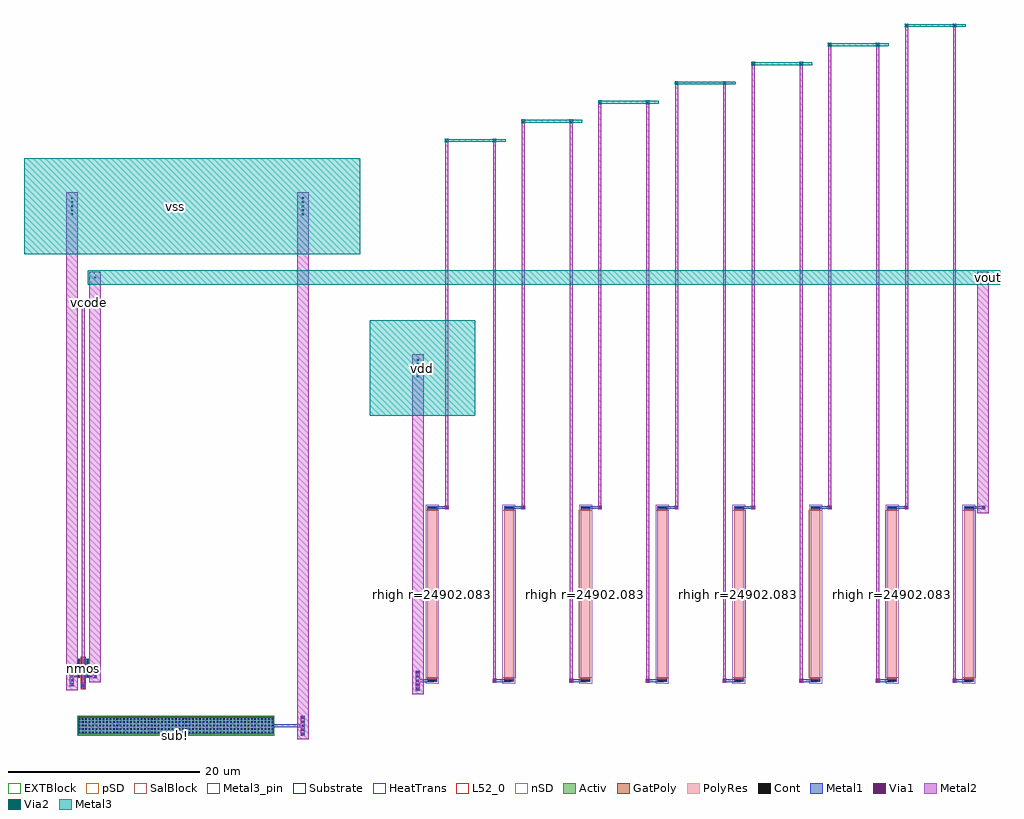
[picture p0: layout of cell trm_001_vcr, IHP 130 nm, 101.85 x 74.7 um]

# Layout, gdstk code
import gdstk
lib = gdstk.Library(unit=1e-6, precision=1e-09)
def R(c, l, rs):  # rectangles x0, y0, x1, y1
    for r in rs: c.add(gdstk.rectangle(r[:2], r[2:], *l))
def A(c, l, x, y, w, h, nx, ny, dx, dy):  # array of equal rectangles
    R(c, l, [(x+i*dx, y+j*dy, x+i*dx+w, y+j*dy+h) for i in range(nx) for j in range(ny)])
Activ = (1, 0)
GatPoly = (5, 0)
Cont = (6, 0)
nSD = (7, 0)
Metal1 = (8, 0)
Metal2 = (10, 0)
pSD = (14, 0)
Via1 = (19, 0)
SalBlock = (28, 0)
Via2 = (29, 0)
Metal3 = (30, 0)
Metal3_pin = (30, 2)
Substrate = (40, 0)
HeatTrans = (51, 0)
L52_0 = (52, 0)
EXTBlock = (111, 0)
PolyRes = (128, 0)

trm_001_vcr = lib.new_cell('trm_001_vcr')
R(trm_001_vcr, Activ, [(0,-6,20.5,-4), (0,0,0.3,0.3), (0,0,1.18,2), (0.88,0,1.18,0.3)])
A(trm_001_vcr, GatPoly, 36.5, -0.43, 1, 0.43, 8, 2, 8, 17.895)
R(trm_001_vcr, GatPoly, [(0.34,-1.2,0.84,-0.4), (0.34,-0.5,0.84,0), (0.34,-0.18,0.84,2.18)])
A(trm_001_vcr, Cont, 0.09, -5.8, 0.16, 0.16, 57, 5, 0.36, 0.36)
A(trm_001_vcr, Cont, 36.57, -0.36, 0.86, 0.16, 8, 2, 8, 18.025)
A(trm_001_vcr, Cont, 0.07, 0.07, 0.16, 0.16, 1, 6, 0, 0.34)
A(trm_001_vcr, Cont, 0.95, 0.07, 0.16, 0.16, 1, 6, 0, 0.34)
R(trm_001_vcr, Cont, [(0.51,-0.88,0.67,-0.72)])
A(trm_001_vcr, nSD, 36.32, -0.61, 1.36, 0.79, 8, 2, 8, 17.895)
R(trm_001_vcr, nSD, [(36.32,0,37.68,17.465), (36.32,0,37.68,17.465), (44.32,0,45.68,17.465), (44.32,0,45.68,17.465), (52.32,0,53.68,17.465), (52.32,0,53.68,17.465), (60.32,0,61.68,17.465), (60.32,0,61.68,17.465), (68.32,0,69.68,17.465), (68.32,0,69.68,17.465), (76.32,0,77.68,17.465), (76.32,0,77.68,17.465), (84.32,0,85.68,17.465), (84.32,0,85.68,17.465), (92.32,0,93.68,17.465), (92.32,0,93.68,17.465)])
A(trm_001_vcr, Metal1, 23.3, -6.04, 0.4, 0.4, 1, 5, 0, 0.42)
A(trm_001_vcr, Metal1, -0.8, -0.89, 0.4, 0.4, 1, 5, 0, 0.42)
A(trm_001_vcr, Metal1, 35.3, -0.5, 0.4, 0.4, 8, 1, 8, 0)
A(trm_001_vcr, Metal1, 36.52, -0.41, 0.96, 0.26, 8, 2, 8, 18.025)
A(trm_001_vcr, Metal1, 38.3, 17.565, 0.4, 0.4, 8, 1, 8, 0)
R(trm_001_vcr, Metal1, [(0.09,-5.85,20.41,-4.15), (0.09,-5.8,20.41,-4.2), (35.3,-1.34,35.7,-0.94), (0.34,-1.05,0.84,-0.55), (0.39,-1,0.79,-0.6), (35.3,-0.92,35.7,-0.52), (35.3,-0.08,35.7,0.32), (1.6,-0.05,2,0.35), (0.07,0,0.23,2), (0.95,0,1.11,2), (0.07,0.07,0.23,0.23), (1.01,0.07,1.17,0.23), (35.3,0.34,35.7,0.74)])
A(trm_001_vcr, Metal2, 23.3, -6.04, 0.4, 0.4, 1, 5, 0, 0.42)
A(trm_001_vcr, Metal2, -0.8, -0.89, 0.4, 0.4, 1, 5, 0, 0.42)
A(trm_001_vcr, Metal2, 35.3, -0.5, 0.4, 0.4, 8, 1, 8, 0)
A(trm_001_vcr, Metal2, 38.3, 17.565, 0.4, 0.4, 8, 1, 8, 0)
A(trm_001_vcr, Metal2, 35.3, 31.275, 0.4, 0.4, 1, 5, 0, 0.42)
A(trm_001_vcr, Metal2, -0.8, 48.175, 0.4, 0.4, 1, 5, 0, 0.42)
A(trm_001_vcr, Metal2, 23.3, 48.175, 0.4, 0.4, 1, 5, 0, 0.42)
R(trm_001_vcr, Metal2, [(35.3,-1.34,35.7,-0.94), (0.39,-1,0.79,-0.6), (35.3,-0.92,35.7,-0.52), (35.3,-0.08,35.7,0.32), (1.6,-0.05,2,0.35), (35.3,0.34,35.7,0.74), (0.39,38.965,0.79,39.365), (1.6,41.565,2,41.965), (94.3,41.565,94.7,41.965), (38.3,55.865,38.7,56.265), (43.3,55.865,43.7,56.265), (46.3,57.865,46.7,58.265), (51.3,57.865,51.7,58.265), (54.3,59.865,54.7,60.265), (59.3,59.865,59.7,60.265), (62.3,61.865,62.7,62.265), (67.3,61.865,67.7,62.265), (70.3,63.865,70.7,64.265), (75.3,63.865,75.7,64.265), (78.3,65.865,78.7,66.265), (83.3,65.865,83.7,66.265), (86.3,67.865,86.7,68.265), (91.3,67.865,91.7,68.265)])
A(trm_001_vcr, pSD, 36.32, -0.61, 1.36, 0.79, 8, 2, 8, 17.895)
R(trm_001_vcr, pSD, [(-0.03,-6.03,20.53,-3.97), (36.32,0,37.68,17.465), (36.32,0,37.68,17.465), (44.32,0,45.68,17.465), (44.32,0,45.68,17.465), (52.32,0,53.68,17.465), (52.32,0,53.68,17.465), (60.32,0,61.68,17.465), (60.32,0,61.68,17.465), (68.32,0,69.68,17.465), (68.32,0,69.68,17.465), (76.32,0,77.68,17.465), (76.32,0,77.68,17.465), (84.32,0,85.68,17.465), (84.32,0,85.68,17.465), (92.32,0,93.68,17.465), (92.32,0,93.68,17.465)])
A(trm_001_vcr, Via1, 23.405, -5.935, 0.19, 0.19, 1, 5, 0, 0.42)
A(trm_001_vcr, Via1, -0.695, -0.785, 0.19, 0.19, 1, 5, 0, 0.42)
A(trm_001_vcr, Via1, 35.405, -0.395, 0.19, 0.19, 8, 1, 8, 0)
A(trm_001_vcr, Via1, 38.405, 17.67, 0.19, 0.19, 8, 1, 8, 0)
R(trm_001_vcr, Via1, [(35.405,-1.235,35.595,-1.045), (0.495,-0.895,0.685,-0.705), (35.405,-0.815,35.595,-0.625), (35.405,0.025,35.595,0.215), (1.705,0.055,1.895,0.245), (35.405,0.445,35.595,0.635)])
A(trm_001_vcr, SalBlock, 36.3, 0, 1.4, 17.465, 8, 1, 8, 0)
A(trm_001_vcr, Via2, 35.405, 31.38, 0.19, 0.19, 1, 5, 0, 0.42)
A(trm_001_vcr, Via2, -0.695, 48.28, 0.19, 0.19, 1, 5, 0, 0.42)
A(trm_001_vcr, Via2, 23.405, 48.28, 0.19, 0.19, 1, 5, 0, 0.42)
R(trm_001_vcr, Via2, [(0.495,39.07,0.685,39.26), (1.705,41.67,1.895,41.86), (94.405,41.67,94.595,41.86), (38.405,55.97,38.595,56.16), (43.405,55.97,43.595,56.16), (46.405,57.97,46.595,58.16), (51.405,57.97,51.595,58.16), (54.405,59.97,54.595,60.16), (59.405,59.97,59.595,60.16), (62.405,61.97,62.595,62.16), (67.405,61.97,67.595,62.16), (70.405,63.97,70.595,64.16), (75.405,63.97,75.595,64.16), (78.405,65.97,78.595,66.16), (83.405,65.97,83.595,66.16), (86.405,67.97,86.595,68.16), (91.405,67.97,91.595,68.16)])
A(trm_001_vcr, Metal3, 35.3, 31.275, 0.4, 0.4, 1, 5, 0, 0.42)
A(trm_001_vcr, Metal3, -0.8, 48.175, 0.4, 0.4, 1, 5, 0, 0.42)
A(trm_001_vcr, Metal3, 23.3, 48.175, 0.4, 0.4, 1, 5, 0, 0.42)
R(trm_001_vcr, Metal3, [(0.39,38.965,0.79,39.365), (1.6,41.565,2,41.965), (94.3,41.565,94.7,41.965), (38.3,55.865,38.7,56.265), (43.3,55.865,43.7,56.265), (46.3,57.865,46.7,58.265), (51.3,57.865,51.7,58.265), (54.3,59.865,54.7,60.265), (59.3,59.865,59.7,60.265), (62.3,61.865,62.7,62.265), (67.3,61.865,67.7,62.265), (70.3,63.865,70.7,64.265), (75.3,63.865,75.7,64.265), (78.3,65.865,78.7,66.265), (83.3,65.865,83.7,66.265), (86.3,67.865,86.7,68.265), (91.3,67.865,91.7,68.265)])
R(trm_001_vcr, Metal3_pin, [(35.9,32.215,36.1,32.415), (0.99,39.065,1.19,39.265), (94.9,41.665,95.1,41.865), (10.15,49.115,10.35,49.315)])
R(trm_001_vcr, Substrate, [(0,-6,20.5,-4)])
R(trm_001_vcr, HeatTrans, [(0.34,-0.18,0.84,2.18)])
A(trm_001_vcr, L52_0, 36.5, 0, 1, 17.465, 8, 1, 8, 0)
A(trm_001_vcr, EXTBlock, 36.32, -0.61, 1.36, 0.79, 8, 2, 8, 17.895)
A(trm_001_vcr, EXTBlock, 36.3, 0, 1.4, 17.465, 8, 1, 8, 0)
A(trm_001_vcr, PolyRes, 36.5, 0, 1, 17.465, 8, 1, 8, 0)
trm_001_vcr.add(gdstk.FlexPath([(0.15,0.15),(-0.6,0.15)], 0.16, ends="extended", simple_path=True, layer=8, datatype=0))  # Metal1
trm_001_vcr.add(gdstk.FlexPath([(1.09,0.15),(1.8,0.15)], 0.16, ends="extended", simple_path=True, layer=8, datatype=0))  # Metal1
trm_001_vcr.add(gdstk.FlexPath([(10.25,-5),(23.5,-5)], 0.3, ends="extended", simple_path=True, layer=8, datatype=0))  # Metal1
trm_001_vcr.add(gdstk.FlexPath([(37,-0.3),(35.5,-0.3)], 0.3, ends="extended", simple_path=True, layer=8, datatype=0))  # Metal1
trm_001_vcr.add(gdstk.FlexPath([(37,17.765),(38.5,17.765)], 0.3, ends="extended", simple_path=True, layer=8, datatype=0))  # Metal1
trm_001_vcr.add(gdstk.FlexPath([(45,-0.3),(43.5,-0.3)], 0.3, ends="extended", simple_path=True, layer=8, datatype=0))  # Metal1
trm_001_vcr.add(gdstk.FlexPath([(45,17.765),(46.5,17.765)], 0.3, ends="extended", simple_path=True, layer=8, datatype=0))  # Metal1
trm_001_vcr.add(gdstk.FlexPath([(53,-0.3),(51.5,-0.3)], 0.3, ends="extended", simple_path=True, layer=8, datatype=0))  # Metal1
trm_001_vcr.add(gdstk.FlexPath([(53,17.765),(54.5,17.765)], 0.3, ends="extended", simple_path=True, layer=8, datatype=0))  # Metal1
trm_001_vcr.add(gdstk.FlexPath([(61,-0.3),(59.5,-0.3)], 0.3, ends="extended", simple_path=True, layer=8, datatype=0))  # Metal1
trm_001_vcr.add(gdstk.FlexPath([(61,17.765),(62.5,17.765)], 0.3, ends="extended", simple_path=True, layer=8, datatype=0))  # Metal1
trm_001_vcr.add(gdstk.FlexPath([(69,-0.3),(67.5,-0.3)], 0.3, ends="extended", simple_path=True, layer=8, datatype=0))  # Metal1
trm_001_vcr.add(gdstk.FlexPath([(69,17.765),(70.5,17.765)], 0.3, ends="extended", simple_path=True, layer=8, datatype=0))  # Metal1
trm_001_vcr.add(gdstk.FlexPath([(77,-0.3),(75.5,-0.3)], 0.3, ends="extended", simple_path=True, layer=8, datatype=0))  # Metal1
trm_001_vcr.add(gdstk.FlexPath([(77,17.765),(78.5,17.765)], 0.3, ends="extended", simple_path=True, layer=8, datatype=0))  # Metal1
trm_001_vcr.add(gdstk.FlexPath([(85,-0.3),(83.5,-0.3)], 0.3, ends="extended", simple_path=True, layer=8, datatype=0))  # Metal1
trm_001_vcr.add(gdstk.FlexPath([(85,17.765),(86.5,17.765)], 0.3, ends="extended", simple_path=True, layer=8, datatype=0))  # Metal1
trm_001_vcr.add(gdstk.FlexPath([(93,-0.3),(91.5,-0.3)], 0.3, ends="extended", simple_path=True, layer=8, datatype=0))  # Metal1
trm_001_vcr.add(gdstk.FlexPath([(93,17.765),(94.5,17.765)], 0.3, ends="extended", simple_path=True, layer=8, datatype=0))  # Metal1
trm_001_vcr.add(gdstk.FlexPath([(35.5,-1.14),(35.5,0.54)], 0.4, ends="extended", simple_path=True, layer=8, datatype=0))  # Metal1
trm_001_vcr.add(gdstk.FlexPath([(-0.6,-0.69),(-0.6,0.99)], 0.4, ends="extended", simple_path=True, layer=8, datatype=0))  # Metal1
trm_001_vcr.add(gdstk.FlexPath([(23.5,-5.84),(23.5,-4.16)], 0.4, ends="extended", simple_path=True, layer=8, datatype=0))  # Metal1
trm_001_vcr.add(gdstk.FlexPath([(35.5,32.315),(36.5,32.315)], 10, ends="extended", simple_path=True, layer=30, datatype=0))  # Metal3
trm_001_vcr.add(gdstk.FlexPath([(0.59,39.165),(1.59,39.165)], 0.3, ends="extended", simple_path=True, layer=30, datatype=0))  # Metal3
trm_001_vcr.add(gdstk.FlexPath([(1.8,41.765),(95.5,41.765)], 1.5, ends="extended", simple_path=True, layer=30, datatype=0))  # Metal3
trm_001_vcr.add(gdstk.FlexPath([(-0.6,49.215),(24.5,49.215)], 10, ends="extended", simple_path=True, layer=30, datatype=0))  # Metal3
trm_001_vcr.add(gdstk.FlexPath([(38.5,56.065),(44.5,56.065)], 0.3, ends="extended", simple_path=True, layer=30, datatype=0))  # Metal3
trm_001_vcr.add(gdstk.FlexPath([(46.5,58.065),(52.5,58.065)], 0.3, ends="extended", simple_path=True, layer=30, datatype=0))  # Metal3
trm_001_vcr.add(gdstk.FlexPath([(54.5,60.065),(60.5,60.065)], 0.3, ends="extended", simple_path=True, layer=30, datatype=0))  # Metal3
trm_001_vcr.add(gdstk.FlexPath([(62.5,62.065),(68.5,62.065)], 0.3, ends="extended", simple_path=True, layer=30, datatype=0))  # Metal3
trm_001_vcr.add(gdstk.FlexPath([(70.5,64.065),(76.5,64.065)], 0.3, ends="extended", simple_path=True, layer=30, datatype=0))  # Metal3
trm_001_vcr.add(gdstk.FlexPath([(78.5,66.065),(84.5,66.065)], 0.3, ends="extended", simple_path=True, layer=30, datatype=0))  # Metal3
trm_001_vcr.add(gdstk.FlexPath([(86.5,68.065),(92.5,68.065)], 0.3, ends="extended", simple_path=True, layer=30, datatype=0))  # Metal3
trm_001_vcr.add(gdstk.FlexPath([(35.5,-1.14),(35.5,33.155)], 1.2, ends="extended", simple_path=True, layer=10, datatype=0))  # Metal2
trm_001_vcr.add(gdstk.FlexPath([(0.59,-0.8),(0.59,39.165)], 0.3, ends="extended", simple_path=True, layer=10, datatype=0))  # Metal2
trm_001_vcr.add(gdstk.FlexPath([(1.8,0.15),(1.8,41.765)], 1.2, ends="extended", simple_path=True, layer=10, datatype=0))  # Metal2
trm_001_vcr.add(gdstk.FlexPath([(94.5,17.765),(94.5,41.765)], 1.2, ends="extended", simple_path=True, layer=10, datatype=0))  # Metal2
trm_001_vcr.add(gdstk.FlexPath([(-0.6,-0.69),(-0.6,50.055)], 1.2, ends="extended", simple_path=True, layer=10, datatype=0))  # Metal2
trm_001_vcr.add(gdstk.FlexPath([(23.5,-5.84),(23.5,50.055)], 1.2, ends="extended", simple_path=True, layer=10, datatype=0))  # Metal2
trm_001_vcr.add(gdstk.FlexPath([(38.5,17.765),(38.5,56.065)], 0.3, ends="extended", simple_path=True, layer=10, datatype=0))  # Metal2
trm_001_vcr.add(gdstk.FlexPath([(43.5,-0.3),(43.5,56.065)], 0.3, ends="extended", simple_path=True, layer=10, datatype=0))  # Metal2
trm_001_vcr.add(gdstk.FlexPath([(46.5,17.765),(46.5,58.065)], 0.3, ends="extended", simple_path=True, layer=10, datatype=0))  # Metal2
trm_001_vcr.add(gdstk.FlexPath([(51.5,-0.3),(51.5,58.065)], 0.3, ends="extended", simple_path=True, layer=10, datatype=0))  # Metal2
trm_001_vcr.add(gdstk.FlexPath([(54.5,17.765),(54.5,60.065)], 0.3, ends="extended", simple_path=True, layer=10, datatype=0))  # Metal2
trm_001_vcr.add(gdstk.FlexPath([(59.5,-0.3),(59.5,60.065)], 0.3, ends="extended", simple_path=True, layer=10, datatype=0))  # Metal2
trm_001_vcr.add(gdstk.FlexPath([(62.5,17.765),(62.5,62.065)], 0.3, ends="extended", simple_path=True, layer=10, datatype=0))  # Metal2
trm_001_vcr.add(gdstk.FlexPath([(67.5,-0.3),(67.5,62.065)], 0.3, ends="extended", simple_path=True, layer=10, datatype=0))  # Metal2
trm_001_vcr.add(gdstk.FlexPath([(70.5,17.765),(70.5,64.065)], 0.3, ends="extended", simple_path=True, layer=10, datatype=0))  # Metal2
trm_001_vcr.add(gdstk.FlexPath([(75.5,-0.3),(75.5,64.065)], 0.3, ends="extended", simple_path=True, layer=10, datatype=0))  # Metal2
trm_001_vcr.add(gdstk.FlexPath([(78.5,17.765),(78.5,66.065)], 0.3, ends="extended", simple_path=True, layer=10, datatype=0))  # Metal2
trm_001_vcr.add(gdstk.FlexPath([(83.5,-0.3),(83.5,66.065)], 0.3, ends="extended", simple_path=True, layer=10, datatype=0))  # Metal2
trm_001_vcr.add(gdstk.FlexPath([(86.5,17.765),(86.5,68.065)], 0.3, ends="extended", simple_path=True, layer=10, datatype=0))  # Metal2
trm_001_vcr.add(gdstk.FlexPath([(91.5,-0.3),(91.5,68.065)], 0.3, ends="extended", simple_path=True, layer=10, datatype=0))  # Metal2
trm_001_vcr.add(gdstk.Label('nmos', (0.59,1), layer=63, texttype=0))
trm_001_vcr.add(gdstk.Label('sub!', (10.25,-5.99), layer=63, texttype=0))
trm_001_vcr.add(gdstk.Label('rhigh r=24902.083', (37,8.733), layer=63, texttype=0))
trm_001_vcr.add(gdstk.Label('rhigh r=24902.083', (45,8.733), layer=63, texttype=0))
trm_001_vcr.add(gdstk.Label('rhigh r=24902.083', (53,8.733), layer=63, texttype=0))
trm_001_vcr.add(gdstk.Label('rhigh r=24902.083', (61,8.733), layer=63, texttype=0))
trm_001_vcr.add(gdstk.Label('rhigh r=24902.083', (69,8.733), layer=63, texttype=0))
trm_001_vcr.add(gdstk.Label('rhigh r=24902.083', (77,8.733), layer=63, texttype=0))
trm_001_vcr.add(gdstk.Label('rhigh r=24902.083', (85,8.733), layer=63, texttype=0))
trm_001_vcr.add(gdstk.Label('rhigh r=24902.083', (93,8.733), layer=63, texttype=0))
trm_001_vcr.add(gdstk.Label('nmos', (0.59,1), layer=51, texttype=0))
trm_001_vcr.add(gdstk.Label('sub!', (10.25,-5.99), layer=40, texttype=0))
trm_001_vcr.add(gdstk.Label('rhigh', (37,8.733), layer=52, texttype=0))
trm_001_vcr.add(gdstk.Label('rhigh', (45,8.733), layer=52, texttype=0))
trm_001_vcr.add(gdstk.Label('rhigh', (53,8.733), layer=52, texttype=0))
trm_001_vcr.add(gdstk.Label('rhigh', (61,8.733), layer=52, texttype=0))
trm_001_vcr.add(gdstk.Label('rhigh', (69,8.733), layer=52, texttype=0))
trm_001_vcr.add(gdstk.Label('rhigh', (77,8.733), layer=52, texttype=0))
trm_001_vcr.add(gdstk.Label('rhigh', (85,8.733), layer=52, texttype=0))
trm_001_vcr.add(gdstk.Label('rhigh', (93,8.733), layer=52, texttype=0))
trm_001_vcr.add(gdstk.Label('vdd', (36,32.315), layer=30, texttype=25))
trm_001_vcr.add(gdstk.Label('vcode', (1.09,39.165), layer=30, texttype=25))
trm_001_vcr.add(gdstk.Label('vout', (95,41.765), layer=30, texttype=25))
trm_001_vcr.add(gdstk.Label('vss', (10.25,49.215), layer=30, texttype=25))

lib.write_gds('trm_001_vcr.gds')
